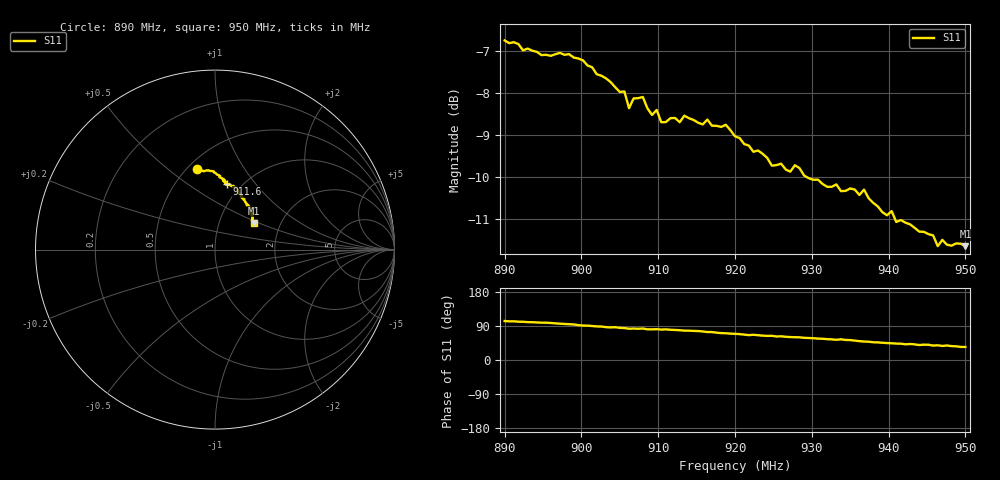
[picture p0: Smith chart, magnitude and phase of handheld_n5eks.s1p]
# HZ S RI R 50
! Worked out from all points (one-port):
!   101 points, 890 MHz to 950 MHz, reference 50 ohm
!   lowest |S11| = -11.6 dB at 950 MHz (marker M1), VSWR 1.71, Z = 73.2 + j23.3 ohm
!   |S11| at or under -10 dB: 929.4 MHz to end of sweep
!   S11 on the Smith chart (normalised r, x): 890 MHz: 0.56, +0.63; 911.6 MHz: 0.86, +0.73; 950 MHz: 1.46, +0.47
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8.9e8  -0.1027 0.4483
8.978e8  -0.0394 0.4405
9.002e8  -0.00628 0.4356
9.05e8  0.0363 0.3978
9.056e8  0.0404 0.3979
9.062e8  0.0491 0.3789
9.08e8  0.0474 0.3911
9.086e8  0.06 0.3771
9.098e8  0.0576 0.3759
9.104e8  0.062 0.3624
9.116e8  0.0659 0.366
9.128e8  0.0731 0.3604
9.164e8  0.1034 0.3557
9.2e8  0.1265 0.3304
9.218e8  0.1423 0.3142
9.224e8  0.1348 0.3112
9.248e8  0.1438 0.2931
9.272e8  0.158 0.2796
9.278e8  0.1627 0.2835
9.32e8  0.1769 0.2523
9.35e8  0.1863 0.2437
9.368e8  0.2017 0.2297
9.392e8  0.2013 0.2051
9.428e8  0.2058 0.187
9.458e8  0.2123 0.1664
9.464e8  0.2042 0.164
9.47e8  0.2124 0.1608
9.5e8  0.216 0.1481
